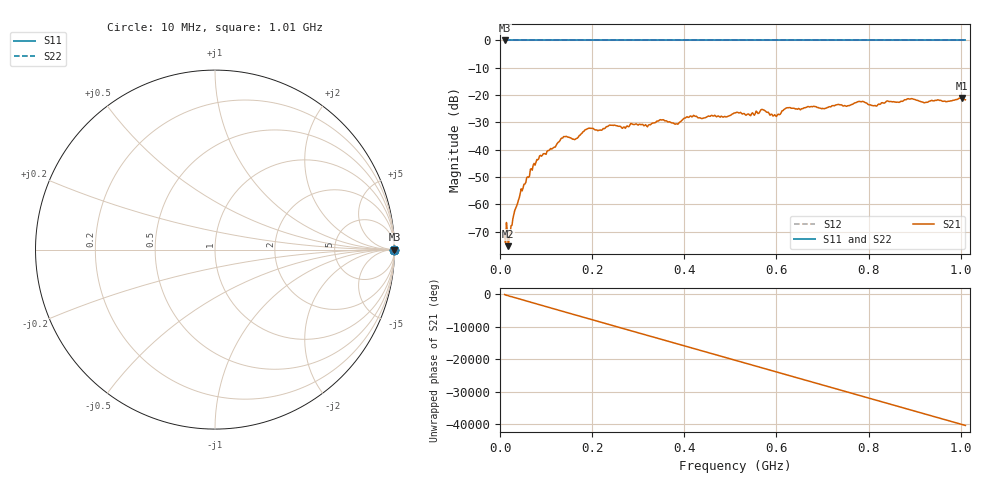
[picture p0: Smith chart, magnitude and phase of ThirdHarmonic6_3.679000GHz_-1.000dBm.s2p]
! 8/17/2025 12:27:17 PM
! C:\ANRITSUVNA\TEMP\TEMP.S2P
! CHANNEL.1
! TR.MEASUREMENT
! RAW.DATA
! RF.CORRECTION.OFF
! AVERAGING.OFF
! IF.BANDWIDTH: 5KHZ
! SWEEPTYPE:  FREQ.SWEEP(Linear)
! Reference Plane Port Info
! PORT:  PORT1  PORT2
! DISTANCE:  0  m  0  m
! TIME:  0  s  0  s
! PHASE.OFFSET:  0  deg.  0  deg.
! LOSS:  0  dB  0  dB
! REF.LOSS:  0  dB  0  dB
! REF.FREQ:  0  Hz  0  Hz
! Power Info
! POWER:  -20  dBm  -20  dBm
! EFF.POWER:  -20  dBm  -20  dBm
! SOURCE.ATTEN:  0  dB  0  dB
! TEST.ATTEN:  0  dB  0  dB
# GHZ S RI R 50.0
! FREQ.GHZ  S11RE  S11IM  S21RE  S21IM  S12RE  S12IM  S22RE  S22IM
!; PortSelection: Port_12
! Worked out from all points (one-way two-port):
!   501 points, 10 MHz to 1.01 GHz, reference 50 ohm
!   highest |S21| = -21.03 dB at 1.002 GHz (marker M1); lowest = -75.3 dB at 18 MHz (marker M2)
!   lowest |S11| = 0.0 dB at 10 MHz (marker M3)
!   |S11| at or under -10 dB: nowhere
!   |S22| runs from 0.0 to 0.0 dB; largest |S21 - S12| = 1.1
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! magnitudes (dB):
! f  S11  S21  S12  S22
! 10 MHz  0.0  -71.1  0.0  0.0
! 18 MHz  0.0  -75.3  0.0  0.0
! 22 MHz  0.0  -71.0  0.0  0.0
! 32 MHz  0.0  -62.2  0.0  0.0
! 48 MHz  0.0  -55.0  0.0  0.0
! 84 MHz  0.0  -43.3  0.0  0.0
! 136 MHz  0.0  -35.7  0.0  0.0
! 162 MHz  0.0  -36.3  0.0  0.0
! 178 MHz  0.0  -33.9  0.0  0.0
! 344 MHz  0.0  -29.5  0.0  0.0
! 382 MHz  0.0  -30.5  0.0  0.0
! 410 MHz  0.0  -28.1  0.0  0.0
! 510 MHz  0.0  -26.5  0.0  0.0
! 570 MHz  0.0  -25.3  0.0  0.0
! 596 MHz  0.0  -27.2  0.0  0.0
! 624 MHz  0.0  -24.6  0.0  0.0
! 678 MHz  0.0  -24.3  0.0  0.0
! 782 MHz  0.0  -22.4  0.0  0.0
! 814 MHz  0.0  -23.8  0.0  0.0
! 844 MHz  0.0  -22.4  0.0  0.0
! 1.002 GHz  0.0  -21.0  0.0  0.0
! 1.01 GHz  0.0  -21.7  0.0  0.0
